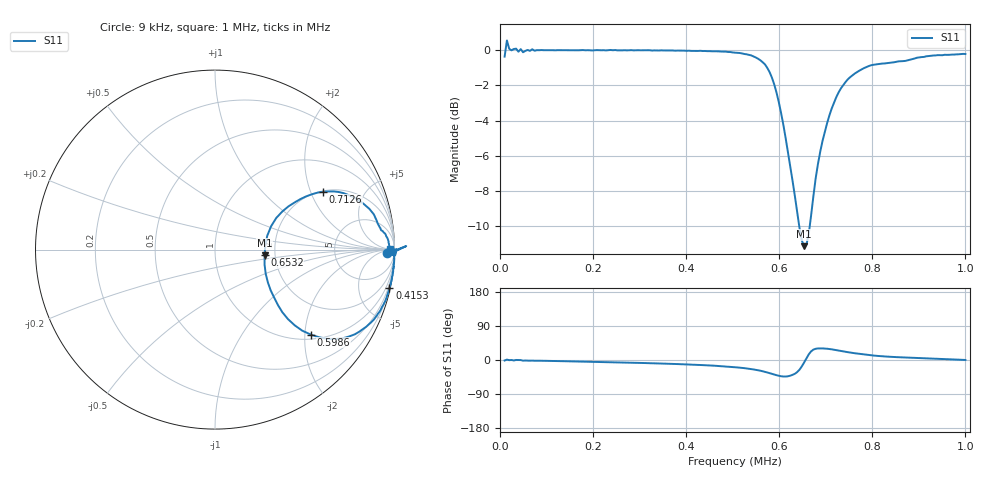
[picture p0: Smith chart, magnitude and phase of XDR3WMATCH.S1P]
!Agilent Technologies,E5071C,MY46100305,A.07.02
!Date: Fri Jan 01 00:52:39 1988
!Data & Calibration Information:
!Freq	S11:SOLT1(ON)
# Hz S MA R 50
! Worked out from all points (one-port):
!   201 points, 9 kHz to 1 MHz, reference 50 ohm
!   lowest |S11| = -11.1 dB at 653.1 kHz (marker M1), VSWR 1.77, Z = 87.9 - j6.08 ohm
!   |S11| at or under -10 dB: 642.7 kHz to 665.1 kHz (22.4 kHz wide, 3.42 % of centre)
!   S11 on the Smith chart (normalised r, x): 9 kHz: 37, -20; 415.3 kHz: 0.21, -9.20; 598.6 kHz: 1.11, -2.14; 653.1 kHz: 1.76, -0.12; 712.6 kHz: 2.04, +2.47; 1 MHz: 79, +6
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9000  0.9586 -1.3
13955  1.065 1.1
18910  1.009 -0.4
38730  0.99 -0.2
43685  1.007 -0.2
48640  0.9864 -1.7
132875  1 -3.1
256750  0.9985 -6.3
380625  0.9973 -10.7
415310  0.9952 -12.4
504500  0.9838 -19.0
539185  0.9666 -23.9
559005  0.9362 -28.2
578825  0.867 -34.7
598645  0.7129 -41.6
613510  0.5623 -43.6
628375  0.4254 -39.1
643240  0.313 -25.5
653150  0.2781 -6.6
663060  0.301 14.8
677925  0.4325 29.6
692790  0.5532 30.6
712610  0.6838 28.1
732430  0.7797 23.9
752250  0.8386 19.7
796845  0.9059 12.6
876125  0.936 6.5
1000000  0.9752 0.1
